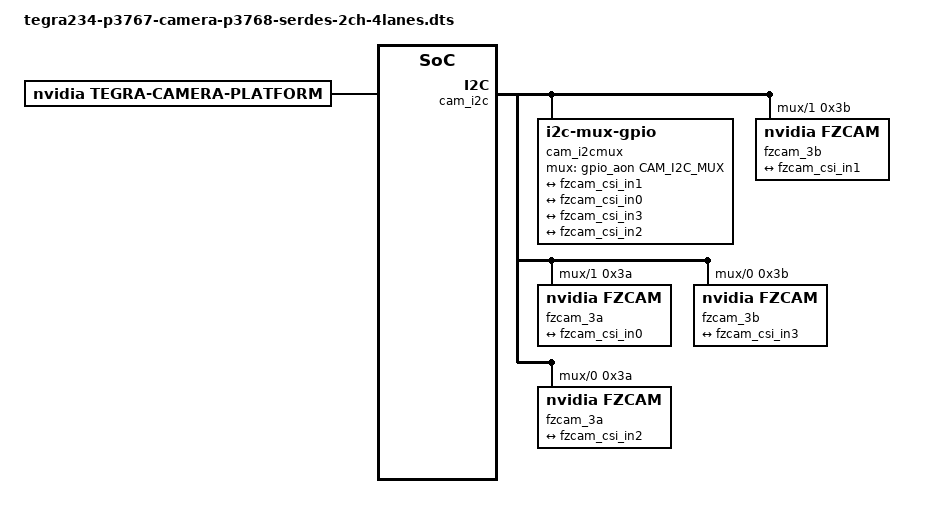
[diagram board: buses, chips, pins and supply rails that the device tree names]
// SPDX-License-Identifier: GPL-2.0-only
// SPDX-FileCopyrightText: Copyright (c) 2023-2024, NVIDIA CORPORATION & AFFILIATES. All rights reserved.

/dts-v1/;
/plugin/;

#include <dt-bindings/clock/tegra234-clock.h>
#include <dt-bindings/gpio/tegra234-gpio.h>
#include <dt-bindings/tegra234-p3767-0000-common.h>

#define CAM0_SYNC	TEGRA234_MAIN_GPIO(H, 6)
#define CAM1_SYNC	TEGRA234_MAIN_GPIO(AC, 0)
#define CAM_I2C_MUX 	TEGRA234_AON_GPIO(CC, 3)

/ {
	overlay-name = "Camera FG96-2CH-4Lanes-YUV";
	jetson-header-name = "Jetson 22pin CSI Connector";
	compatible = JETSON_COMPATIBLE_P3768;

	fragment@0 {
		target-path = "/";
		__overlay__ {
			tegra-capture-vi  {
				num-channels = <4>;
				ports {
					#address-cells = <1>;
					#size-cells = <0>;
					vi_port0: port@0 {
						reg = <0>;
						fzcam_vi_in0: endpoint {
							vc-id = <0>;
							port-index = <2>;
							bus-width = <4>;
							remote-endpoint = <&fzcam_csi_out0>;
						};
					};
					vi_port1: port@1 {
						reg = <1>;
						fzcam_vi_in1: endpoint {
							vc-id = <1>;
							port-index = <2>;
							bus-width = <4>;
							remote-endpoint = <&fzcam_csi_out1>;
						};
					};
					vi_port2: port@2 {
						reg = <2>;
						fzcam_vi_in2: endpoint {
							vc-id = <0>;
							port-index = <0>;
							bus-width = <4>;
							remote-endpoint = <&fzcam_csi_out2>;
						};
					};
					vi_port3: port@3 {
						reg = <3>;
						fzcam_vi_in3: endpoint {
							vc-id = <1>;
							port-index = <0>;
							bus-width = <4>;
							remote-endpoint = <&fzcam_csi_out3>;
						};
					};
				};
			};

			tegra-camera-platform {
				status = "okay";
				compatible = "nvidia, tegra-camera-platform";
				num_csi_lanes = <8>;
				max_lane_speed = <1500000>;
				min_bits_per_pixel = <10>;
				vi_peak_byte_per_pixel = <2>;
				vi_bw_margin_pct = <25>;
				max_pixel_rate = <7500000>;
				isp_peak_byte_per_pixel = <5>;
				isp_bw_margin_pct = <25>;

				modules {
					cam_module0: module0 {
						badge = "fz_bottomleft";
						position = "bottomleft";
						orientation = "1";
						cam_module0_drivernode0: drivernode0 {
							pcl_id = "v4l2_sensor";
							sysfs-device-tree = "/sys/firmware/devicetree/base/bus@0/cam_i2cmux/i2c@0/fzcam_3a@3a";
						};
					};
					cam_module1: module1 {
						badge = "fz_centerleft";
						position = "centerleft";
						orientation = "1";
						cam_module1_drivernode0: drivernode0 {
							pcl_id = "v4l2_sensor";
							sysfs-device-tree = "/sys/firmware/devicetree/base/bus@0/cam_i2cmux/i2c@0/fzcam_3b@3b";
						};
					};
					cam_module2: module2 {
						badge = "fz_topleft";
						position = "topleft";
						orientation = "1";
						cam_module2_drivernode0: drivernode0 {
							pcl_id = "v4l2_sensor";
							sysfs-device-tree = "/sys/firmware/devicetree/base/bus@0/cam_i2cmux/i2c@1/fzcam_3a@3a";
						};
					};
					cam_module3: module3 {
						badge = "fz_frontcenter";
						position = "frontcenter";
						orientation = "1";
						cam_module3_drivernode0: drivernode0 {
							pcl_id = "v4l2_sensor";
							sysfs-device-tree = "/sys/firmware/devicetree/base/bus@0/cam_i2cmux/i2c@1/fzcam_3b@3b";
						};
					};
				};
			};

			bus@0 {
				host1x@13e00000 {
					nvcsi@15a00000 {
						num-channels = <4>;
						#address-cells = <1>;
						#size-cells = <0>;
						csi_chan0: channel@0 {
							reg = <0>;
							ports {
								#address-cells = <1>;
								#size-cells = <0>;
								csi_chan0_port0: port@0 {
									reg = <0>;
									fzcam_csi_in0: endpoint@0 {
										port-index = <2>;
										bus-width = <4>;
										remote-endpoint = <&fzcam_out0>;
									};
								};
								csi_chan0_port1: port@1 {
									reg = <1>;
									fzcam_csi_out0: endpoint@1 {
										remote-endpoint = <&fzcam_vi_in0>;
									};
								};
							};
						};
						csi_chan1: channel@1 {
							reg = <1>;
							ports {
								#address-cells = <1>;
								#size-cells = <0>;
								csi_chan1_port0: port@0 {
									reg = <0>;
									fzcam_csi_in1: endpoint@2 {
										port-index = <2>;
										bus-width = <4>;
										remote-endpoint = <&fzcam_out1>;
									};
								};
								csi_chan1_port1: port@1 {
									reg = <1>;
									fzcam_csi_out1: endpoint@3 {
										remote-endpoint = <&fzcam_vi_in1>;
									};
								};
							};
						};
						csi_chan2: channel@2 {
							reg = <2>;
							ports {
								#address-cells = <1>;
								#size-cells = <0>;
								csi_chan2_port0: port@0 {
									reg = <0>;
									fzcam_csi_in2: endpoint@4 {
										port-index = <0>;
										bus-width = <4>;
										remote-endpoint = <&fzcam_out2>;
									};
								};
								csi_chan2_port1: port@1 {
									reg = <1>;
									fzcam_csi_out2: endpoint@5 {
										remote-endpoint = <&fzcam_vi_in2>;
									};
								};
							};
						};
						csi_chan3: channel@3 {
							reg = <3>;
							ports {
								#address-cells = <1>;
								#size-cells = <0>;
								csi_chan3_port0: port@0 {
									reg = <0>;
									fzcam_csi_in3: endpoint@6 {
										port-index = <0>;
										bus-width = <4>;
										remote-endpoint = <&fzcam_out3>;
									};
								};
								csi_chan3_port1: port@1 {
									reg = <1>;
									fzcam_csi_out3: endpoint@7 {
										remote-endpoint = <&fzcam_vi_in3>;
									};
								};
							};
						};
					};
				};

				cam_i2cmux {
					compatible = "i2c-mux-gpio";
					#address-cells = <1>;
					#size-cells = <0>;
					i2c-parent = <&cam_i2c>;
					mux-gpios = <&gpio_aon CAM_I2C_MUX GPIO_ACTIVE_HIGH>;

					i2c_1:i2c@1 {
						reg = <1>;
						#address-cells = <1>;
						#size-cells = <0>;

						fzcam_3b@3b {
							compatible = "nvidia,fzcam";
							sensor_model ="fzcam";
							reg = <0x3b>;

							/* Physical dimensions of sensor */
							physical_w = "15.0";
							physical_h = "12.5";

							mode0 {
								mclk_khz = "37125";
								num_lanes = "4";
								tegra_sinterface = "serial_c";
								vc_id = "1";
								
								discontinuous_clk = "no";
								dpcm_enable = "false";
								cil_settletime = "0";
								csi_pixel_bit_depth = "16";
								mode_type = "yuv";
								pixel_phase = "uyvy";

								active_w = "1920";
								active_h = "1080";
								readout_orientation = "0";
								line_length = "2200";
								inherent_gain = "1";
								
								pix_clk_hz = "74250000";
								serdes_pix_clk_hz = "375000000";
								
								gain_factor = "10";
								min_gain_val = "0"; /* 0dB */
								max_gain_val = "480"; /* 48dB */
								step_gain_val = "3"; /* 0.3 */
								default_gain = "0";

								min_hdr_ratio = "1";
								max_hdr_ratio = "1";

								framerate_factor = "1000000";
								min_framerate = "30000000"; /* 1.5 */
								max_framerate = "30000000"; /* 30 */
								step_framerate = "1";
								default_framerate= "30000000";

								exposure_factor = "1000000";
								min_exp_time = "30"; /* us */
								max_exp_time = "660000"; /* us */
								step_exp_time = "1";
								default_exp_time = "33334";/* us */
								embedded_metadata_height = "0";
							};
							ports {
								#address-cells = <1>;
								#size-cells = <0>;
								port@0 {
									reg = <0>;
									fzcam_out1: endpoint {
										vc-id = <1>;
										port-index = <2>;
										bus-width = <4>;
										remote-endpoint = <&fzcam_csi_in1>;
									};
								};
							};
						};
						fzcam_3a@3a {
							compatible = "nvidia,fzcam";
							sensor_model ="fzcam";
							reg = <0x3a>;

							/* Physical dimensions of sensor */
							physical_w = "15.0";
							physical_h = "12.5";
							
							mode0 {
								mclk_khz = "37125";
								num_lanes = "4";
								tegra_sinterface = "serial_c";
								vc_id = "0";
								
								discontinuous_clk = "no";
								dpcm_enable = "false";
								cil_settletime = "0";
								csi_pixel_bit_depth = "16";
								mode_type = "yuv";
								pixel_phase = "uyvy";

								active_w = "1920";
								active_h = "1080";
								readout_orientation = "0";
								line_length = "2200";
								inherent_gain = "1";
								
								pix_clk_hz = "74250000";
								serdes_pix_clk_hz = "375000000";
								
								gain_factor = "10";
								min_gain_val = "0"; /* 0dB */
								max_gain_val = "480"; /* 48dB */
								step_gain_val = "3"; /* 0.3 */
								default_gain = "0";

								min_hdr_ratio = "1";
								max_hdr_ratio = "1";

								framerate_factor = "1000000";
								min_framerate = "30000000"; /* 1.5 */
								max_framerate = "30000000"; /* 30 */
								step_framerate = "1";
								default_framerate= "30000000";

								exposure_factor = "1000000";
								min_exp_time = "30"; /* us */
								max_exp_time = "660000"; /* us */
								step_exp_time = "1";
								default_exp_time = "33334";/* us */
								embedded_metadata_height = "0";
							};
							ports {
								#address-cells = <1>;
								#size-cells = <0>;
								port@0 {
									reg = <0>;
									fzcam_out0: endpoint {
										vc-id = <0>;
										port-index = <2>;
										bus-width = <4>;
										remote-endpoint = <&fzcam_csi_in0>;
									};
								};
							};
						};
					};
					
					i2c_0: i2c@0 {
						reg = <0>;
						#address-cells = <1>;
						#size-cells = <0>;
						
						fzcam_3b@3b {
							compatible = "nvidia,fzcam";
							sensor_model ="fzcam";
							reg = <0x3b>;

							/* Physical dimensions of sensor */
							physical_w = "15.0";
							physical_h = "12.5";

							mode0 {
								mclk_khz = "37125";
								num_lanes = "4";
								tegra_sinterface = "serial_a";
								lane_polarity = "6";
								vc_id = "1";

								discontinuous_clk = "no";
								dpcm_enable = "false";
								cil_settletime = "0";
								csi_pixel_bit_depth = "16";
								mode_type = "yuv";
								pixel_phase = "uyvy";

								active_w = "1920";
								active_h = "1080";
								readout_orientation = "0";
								line_length = "2200";
								inherent_gain = "1";
								pix_clk_hz = "74250000";
								serdes_pix_clk_hz = "375000000";

								gain_factor = "10";
								min_gain_val = "0"; /* 0dB */
								max_gain_val = "480"; /* 48dB */
								step_gain_val = "3"; /* 0.3 */
								default_gain = "0";

								min_hdr_ratio = "1";
								max_hdr_ratio = "1";

								framerate_factor = "1000000";
								min_framerate = "30000000"; /* 1.5 */
								max_framerate = "30000000"; /* 30 */
								step_framerate = "1";
								default_framerate= "30000000";

								exposure_factor = "1000000";
								min_exp_time = "30"; /* us */
								max_exp_time = "660000"; /* us */
								step_exp_time = "1";
								default_exp_time = "33334";/* us */
								embedded_metadata_height = "0";
							};
							ports {
								#address-cells = <1>;
								#size-cells = <0>;
								port@0 {
									reg = <0>;
									fzcam_out3: endpoint {
										vc-id = <1>;
										port-index = <0>;
										bus-width = <4>;
										remote-endpoint = <&fzcam_csi_in3>;
									};
								};
							};
						};
						fzcam_3a@3a{
							compatible = "nvidia,fzcam";
							sensor_model ="fzcam";
							reg = <0x3a>;

							/* Physical dimensions of sensor */
							physical_w = "15.0";
							physical_h = "12.5";

							mode0 {
								mclk_khz = "37125";
								num_lanes = "4";
								tegra_sinterface = "serial_a";
								lane_polarity = "6";
								vc_id = "0";
								
								discontinuous_clk = "no";
								dpcm_enable = "false";
								cil_settletime = "0";
								csi_pixel_bit_depth = "16";
								mode_type = "yuv";
								pixel_phase = "uyvy";

								active_w = "1920";
								active_h = "1080";
								readout_orientation = "0";
								line_length = "2200";
								inherent_gain = "1";
								
								pix_clk_hz = "74250000";
								serdes_pix_clk_hz = "375000000";
								
								gain_factor = "10";
								min_gain_val = "0"; /* 0dB */
								max_gain_val = "480"; /* 48dB */
								step_gain_val = "3"; /* 0.3 */
								default_gain = "0";

								min_hdr_ratio = "1";
								max_hdr_ratio = "1";

								framerate_factor = "1000000";
								min_framerate = "30000000"; /* 1.5 */
								max_framerate = "30000000"; /* 30 */
								step_framerate = "1";
								default_framerate= "30000000";

								exposure_factor = "1000000";
								min_exp_time = "30"; /* us */
								max_exp_time = "660000"; /* us */
								step_exp_time = "1";
								default_exp_time = "33334";/* us */
								embedded_metadata_height = "0";
							};
							ports {
								#address-cells = <1>;
								#size-cells = <0>;
								port@0 {
									reg = <0>;
									fzcam_out2: endpoint {
										vc-id = <0>;
										port-index = <0>;
										bus-width = <4>;
										remote-endpoint = <&fzcam_csi_in2>;
									};
								};
							};
						};
					};
				};
			};
		};
	};
};
